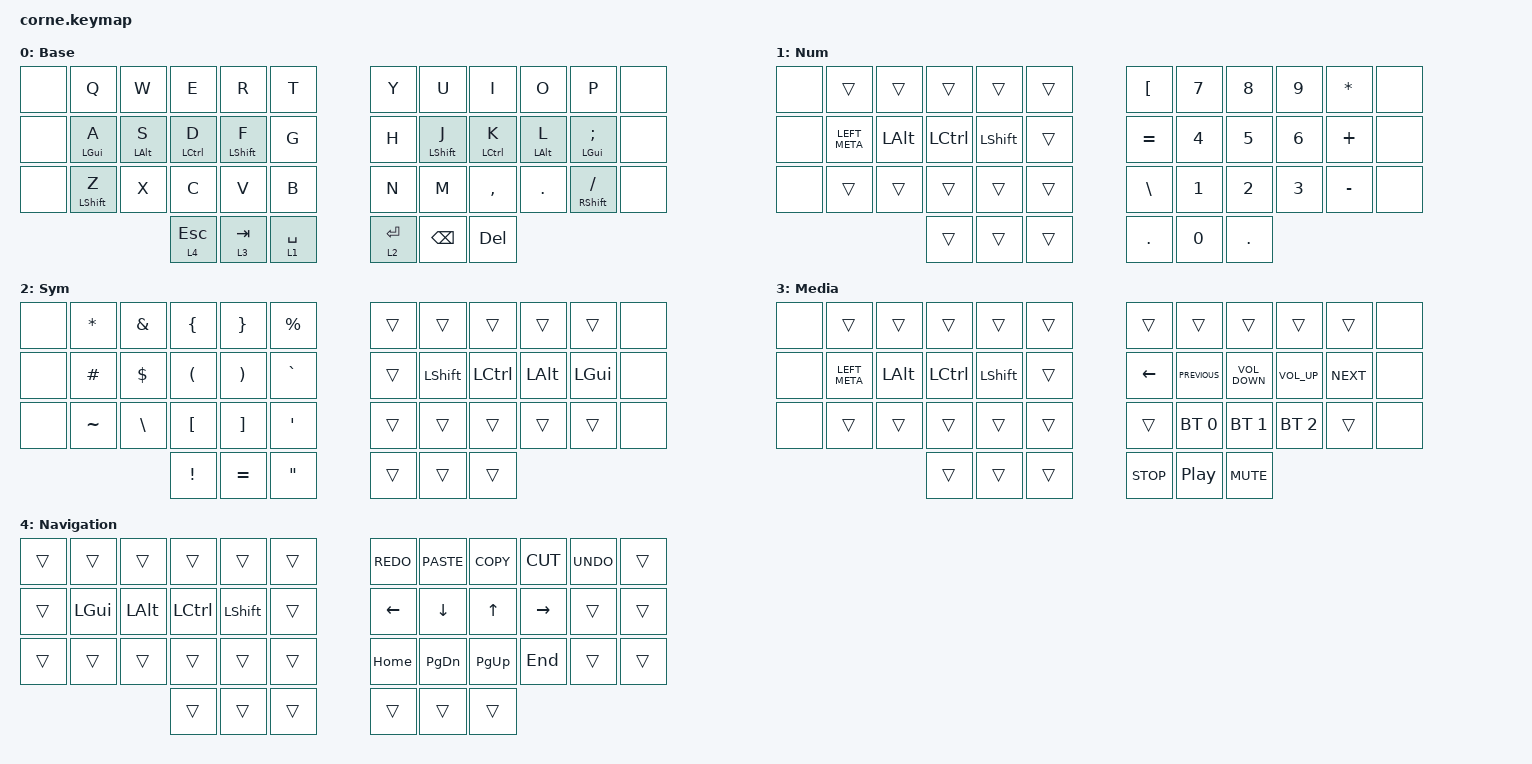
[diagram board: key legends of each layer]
/*
 * Copyright (c) 2020 The ZMK Contributors
 *
 * SPDX-License-Identifier: MIT
 */

#include <behaviors.dtsi>
#include <dt-bindings/zmk/bt.h>
#include <dt-bindings/zmk/keys.h>

&lt {
    require-prior-idle-ms = <100>;
    quick-tap-ms = <200>;
    tapping-term-ms = <280>;
    flavor = "balanced";
};

&mt {
    require-prior-idle-ms = <100>;
    quick-tap-ms = <200>;
    tapping-term-ms = <300>;
    flavor = "balanced";
};

/ {
    combos {
        compatible = "zmk,combos";

        jk_esc {
            bindings = <&kp ESCAPE>;
            key-positions = <19 20>;
        };
    };

    behaviors {
        mt_left: mt_left {
            compatible = "zmk,behavior-hold-tap";
            label = "MT_LEFT";
            bindings = <&kp>, <&kp>;

            #binding-cells = <2>;
            tapping-term-ms = <280>;
            hold-trigger-key-positions = <6 18 30 31 19 7 8 32 33 21 9 20 34 22 10 39 40 41 16 15 14 13>;
            quick-tap-ms = <200>;
            require-prior-idle-ms = <150>;
            flavor = "balanced";
        };

        mt_right: mt_right {
            compatible = "zmk,behavior-hold-tap";
            label = "MT_RIGHT";
            bindings = <&kp>, <&kp>;

            #binding-cells = <2>;
            tapping-term-ms = <280>;
            hold-trigger-key-positions = <1 2 3 4 5 17 16 15 14 13 25 26 27 28 29 38 37 36 19 20 21 22>;
            quick-tap-ms = <200>;
            require-prior-idle-ms = <150>;
            flavor = "balanced";
        };
    };

    keymap {
        compatible = "zmk,keymap";

        Base {
            // -----------------------------------------------------------------------------------------
            // |  TAB |  Q  |  W  |  E  |  R  |  T  |   |  Y  |  U   |  I  |  O  |  P  | BSPC |
            // | CTRL |  A  |  S  |  D  |  F  |  G  |   |  H  |  J   |  K  |  L  |  ;  |  '   |
            // | SHFT |  Z  |  X  |  C  |  V  |  B  |   |  N  |  M   |  ,  |  .  |  /  | ESC  |
            //                    | GUI | LWR | SPC |   | ENT | RSE  | ALT |

            bindings = <
&none  &kp Q                &kp W                &kp E                    &kp R                  &kp T          &kp Y        &kp U                   &kp I                     &kp O                 &kp P                         &none
&none  &mt_left LEFT_GUI A  &mt_left LEFT_ALT S  &mt_left LEFT_CONTROL D  &mt_left LEFT_SHIFT F  &kp G          &kp H        &mt_right LEFT_SHIFT J  &mt_right LEFT_CONTROL K  &mt_right LEFT_ALT L  &mt_right LEFT_GUI SEMICOLON  &none
&none  &mt LSHFT Z          &kp X                &kp C                    &kp V                  &kp B          &kp N        &kp M                   &kp COMMA                 &kp DOT               &mt RIGHT_SHIFT FSLH          &none
                                                 &lt 4 ESCAPE             &lt 3 TAB              &lt 1 SPACE    &lt 2 ENTER  &kp BACKSPACE           &kp DELETE
            >;
        };

        Num {
            bindings = <
&none  &trans         &trans        &trans            &trans          &trans    &kp LEFT_BRACKET  &kp N7        &kp N8        &kp N9        &kp ASTERISK  &none
&none  &kp LEFT_META  &kp LEFT_ALT  &kp LEFT_CONTROL  &kp LEFT_SHIFT  &trans    &kp EQUAL         &kp NUMBER_4  &kp NUMBER_5  &kp NUMBER_6  &kp PLUS      &none
&none  &trans         &trans        &trans            &trans          &trans    &kp BACKSLASH     &kp NUMBER_1  &kp NUMBER_2  &kp NUMBER_3  &kp MINUS     &none
                                    &trans            &trans          &trans    &kp PERIOD        &kp N0        &kp DOT
            >;
        };

        Sym {
            // -----------------------------------------------------------------------------------------
            // |  TAB |  1  |  2  |  3  |  4  |  5  |   |  6  |  7  |  8  |  9  |  0  | BSPC |
            // | BTCLR| BT1 | BT2 | BT3 | BT4 | BT5 |   | LFT | DWN |  UP | RGT |     |      |
            // | SHFT |     |     |     |     |     |   |     |     |     |     |     |      |
            //                    | GUI |     | SPC |   | ENT |     | ALT |

            bindings = <
&none  &kp ASTERISK  &kp AMPERSAND  &kp LEFT_BRACE        &kp RIGHT_BRACE        &kp PERCENT          &trans  &trans          &trans            &trans        &trans        &none
&none  &kp HASH      &kp DOLLAR     &kp LEFT_PARENTHESIS  &kp RIGHT_PARENTHESIS  &kp GRAVE            &trans  &kp LEFT_SHIFT  &kp LEFT_CONTROL  &kp LEFT_ALT  &kp LEFT_GUI  &none
&none  &kp TILDE     &kp BACKSLASH  &kp LEFT_BRACKET      &kp RIGHT_BRACKET      &kp SINGLE_QUOTE     &trans  &trans          &trans            &trans        &trans        &none
                                    &kp EXCLAMATION       &kp EQUAL              &kp DOUBLE_QUOTES    &trans  &trans          &trans
            >;
        };

        Media {
            bindings = <
&none  &trans         &trans        &trans            &trans          &trans    &trans          &trans            &trans             &trans           &trans      &none
&none  &kp LEFT_META  &kp LEFT_ALT  &kp LEFT_CONTROL  &kp LEFT_SHIFT  &trans    &kp LEFT_ARROW  &kp C_PREVIOUS    &kp C_VOLUME_DOWN  &kp C_VOLUME_UP  &kp C_NEXT  &none
&none  &trans         &trans        &trans            &trans          &trans    &trans          &bt BT_SEL 0      &bt BT_SEL 1       &bt BT_SEL 2     &trans      &none
                                    &trans            &trans          &trans    &kp C_STOP      &kp C_PLAY_PAUSE  &kp C_MUTE
            >;
        };

        Navigation {
            bindings = <
&trans  &trans    &trans    &trans     &trans     &trans    &kp K_REDO  &kp K_PASTE    &kp K_COPY  &kp K_CUT  &kp K_UNDO  &trans
&trans  &kp LGUI  &kp LALT  &kp LCTRL  &kp LSHFT  &trans    &kp LEFT    &kp DOWN       &kp UP      &kp RIGHT  &trans      &trans
&trans  &trans    &trans    &trans     &trans     &trans    &kp HOME    &kp PAGE_DOWN  &kp PG_UP   &kp END    &trans      &trans
                            &trans     &trans     &trans    &trans      &trans         &trans
            >;
        };
    };
};
